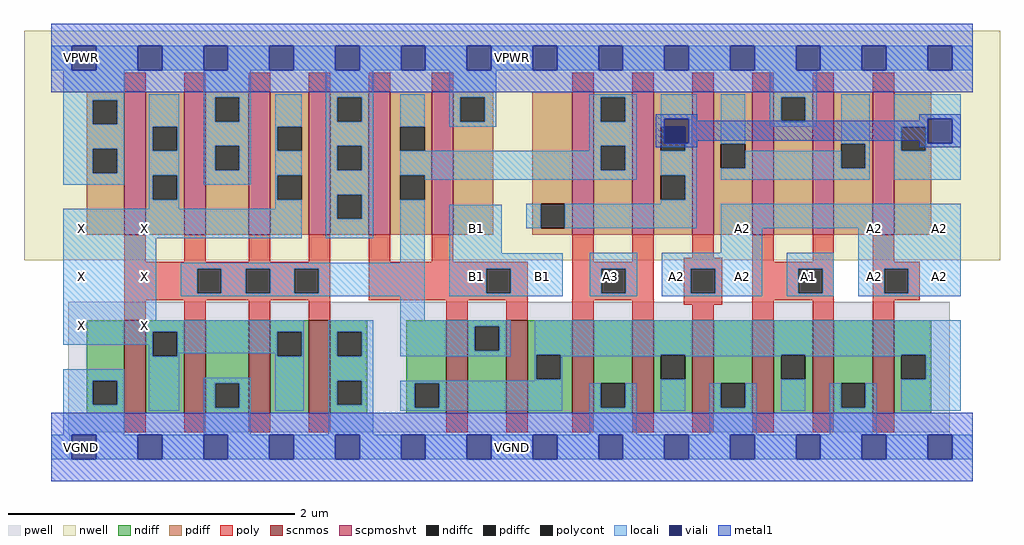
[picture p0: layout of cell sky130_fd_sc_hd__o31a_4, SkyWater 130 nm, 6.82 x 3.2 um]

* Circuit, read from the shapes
.subckt sky130_fd_sc_hd__o31a_4 A1 A2 A3 B1 VGND VNB VPB VPWR X
XM1 X n1 VGND VNB sky130_fd_pr__nfet_01v8 w=0.65 l=0.15 m=4
XM2 n1 B1 n2 VNB sky130_fd_pr__nfet_01v8 w=0.65 l=0.15 m=2
XM3 VGND A3 n2 VNB sky130_fd_pr__nfet_01v8 w=0.65 l=0.15 m=2
XM4 VGND A2 n2 VNB sky130_fd_pr__nfet_01v8 w=0.65 l=0.15 m=2
XM5 n2 A1 VGND VNB sky130_fd_pr__nfet_01v8 w=0.65 l=0.15 m=2
XM6 X n1 VPWR VPB sky130_fd_pr__pfet_01v8_hvt w=1 l=0.15 m=4
XM7 n1 B1 VPWR VPB sky130_fd_pr__pfet_01v8_hvt w=1 l=0.15 m=2
XM8 n1 A3 n3 VPB sky130_fd_pr__pfet_01v8_hvt w=1 l=0.15 m=2
XM9 n4 A2 n3 VPB sky130_fd_pr__pfet_01v8_hvt w=1 l=0.15 m=2
XM10 VPWR A1 n4 VPB sky130_fd_pr__pfet_01v8_hvt w=1 l=0.15 m=2
.ends

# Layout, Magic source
magic
tech sky130A
magscale 1 2
<< nwell >>
rect -38 261 1326 582
<< pwell >>
rect 24 21 1256 203
rect 25 -17 59 21
<< scnmos >>
rect 102 47 132 177
rect 186 47 216 177
rect 276 47 306 177
rect 360 47 390 177
rect 552 47 582 177
rect 636 47 666 177
rect 728 47 758 177
rect 812 47 842 177
rect 896 47 926 177
rect 980 47 1010 177
rect 1064 47 1094 177
rect 1148 47 1178 177
<< scpmoshvt >>
rect 102 297 132 497
rect 186 297 216 497
rect 276 297 306 497
rect 360 297 390 497
rect 444 297 474 497
rect 532 297 562 497
rect 728 297 758 497
rect 812 297 842 497
rect 896 297 926 497
rect 980 297 1010 497
rect 1064 297 1094 497
rect 1148 297 1178 497
<< ndiff >>
rect 50 93 102 177
rect 50 59 58 93
rect 92 59 102 93
rect 50 47 102 59
rect 132 161 186 177
rect 132 127 142 161
rect 176 127 186 161
rect 132 47 186 127
rect 216 89 276 177
rect 216 55 229 89
rect 263 55 276 89
rect 216 47 276 55
rect 306 161 360 177
rect 306 127 316 161
rect 350 127 360 161
rect 306 47 360 127
rect 390 161 442 177
rect 390 127 400 161
rect 434 127 442 161
rect 390 93 442 127
rect 390 59 400 93
rect 434 59 442 93
rect 390 47 442 59
rect 496 89 552 177
rect 496 55 508 89
rect 542 55 552 89
rect 496 47 552 55
rect 582 169 636 177
rect 582 135 592 169
rect 626 135 636 169
rect 582 47 636 135
rect 666 129 728 177
rect 666 95 678 129
rect 712 95 728 129
rect 666 47 728 95
rect 758 89 812 177
rect 758 55 768 89
rect 802 55 812 89
rect 758 47 812 55
rect 842 129 896 177
rect 842 95 852 129
rect 886 95 896 129
rect 842 47 896 95
rect 926 89 980 177
rect 926 55 936 89
rect 970 55 980 89
rect 926 47 980 55
rect 1010 129 1064 177
rect 1010 95 1020 129
rect 1054 95 1064 129
rect 1010 47 1064 95
rect 1094 89 1148 177
rect 1094 55 1104 89
rect 1138 55 1148 89
rect 1094 47 1148 55
rect 1178 129 1230 177
rect 1178 95 1188 129
rect 1222 95 1230 129
rect 1178 47 1230 95
<< pdiff >>
rect 50 485 102 497
rect 50 451 58 485
rect 92 451 102 485
rect 50 417 102 451
rect 50 383 58 417
rect 92 383 102 417
rect 50 297 102 383
rect 132 448 186 497
rect 132 414 142 448
rect 176 414 186 448
rect 132 380 186 414
rect 132 346 142 380
rect 176 346 186 380
rect 132 297 186 346
rect 216 489 276 497
rect 216 455 229 489
rect 263 455 276 489
rect 216 421 276 455
rect 216 387 229 421
rect 263 387 276 421
rect 216 297 276 387
rect 306 448 360 497
rect 306 414 316 448
rect 350 414 360 448
rect 306 380 360 414
rect 306 346 316 380
rect 350 346 360 380
rect 306 297 360 346
rect 390 489 444 497
rect 390 455 400 489
rect 434 455 444 489
rect 390 421 444 455
rect 390 387 400 421
rect 434 387 444 421
rect 390 353 444 387
rect 390 319 400 353
rect 434 319 444 353
rect 390 297 444 319
rect 474 448 532 497
rect 474 414 488 448
rect 522 414 532 448
rect 474 380 532 414
rect 474 346 488 380
rect 522 346 532 380
rect 474 297 532 346
rect 562 489 618 497
rect 562 455 572 489
rect 606 455 618 489
rect 562 297 618 455
rect 672 340 728 497
rect 672 306 684 340
rect 718 306 728 340
rect 672 297 728 306
rect 758 489 812 497
rect 758 455 768 489
rect 802 455 812 489
rect 758 421 812 455
rect 758 387 768 421
rect 802 387 812 421
rect 758 297 812 387
rect 842 448 896 497
rect 842 414 852 448
rect 886 414 896 448
rect 842 380 896 414
rect 842 346 852 380
rect 886 346 896 380
rect 842 297 896 346
rect 926 424 980 497
rect 926 390 936 424
rect 970 390 980 424
rect 926 297 980 390
rect 1010 489 1064 497
rect 1010 455 1020 489
rect 1054 455 1064 489
rect 1010 297 1064 455
rect 1094 424 1148 497
rect 1094 390 1104 424
rect 1138 390 1148 424
rect 1094 297 1148 390
rect 1178 448 1230 497
rect 1178 414 1188 448
rect 1222 414 1230 448
rect 1178 297 1230 414
<< ndiffc >>
rect 58 59 92 93
rect 142 127 176 161
rect 229 55 263 89
rect 316 127 350 161
rect 400 127 434 161
rect 400 59 434 93
rect 508 55 542 89
rect 592 135 626 169
rect 678 95 712 129
rect 768 55 802 89
rect 852 95 886 129
rect 936 55 970 89
rect 1020 95 1054 129
rect 1104 55 1138 89
rect 1188 95 1222 129
<< pdiffc >>
rect 58 451 92 485
rect 58 383 92 417
rect 142 414 176 448
rect 142 346 176 380
rect 229 455 263 489
rect 229 387 263 421
rect 316 414 350 448
rect 316 346 350 380
rect 400 455 434 489
rect 400 387 434 421
rect 400 319 434 353
rect 488 414 522 448
rect 488 346 522 380
rect 572 455 606 489
rect 684 306 718 340
rect 768 455 802 489
rect 768 387 802 421
rect 852 414 886 448
rect 852 346 886 380
rect 936 390 970 424
rect 1020 455 1054 489
rect 1104 390 1138 424
rect 1188 414 1222 448
<< poly >>
rect 102 497 132 523
rect 186 497 216 523
rect 276 497 306 523
rect 360 497 390 523
rect 444 497 474 523
rect 532 497 562 523
rect 728 497 758 523
rect 812 497 842 523
rect 896 497 926 523
rect 980 497 1010 523
rect 1064 497 1094 523
rect 1148 497 1178 523
rect 102 259 132 297
rect 186 259 216 297
rect 276 259 306 297
rect 360 259 390 297
rect 102 249 390 259
rect 102 215 204 249
rect 238 215 272 249
rect 306 215 340 249
rect 374 215 390 249
rect 102 205 390 215
rect 444 259 474 297
rect 532 259 562 297
rect 728 259 758 297
rect 812 259 842 297
rect 896 265 926 297
rect 444 249 666 259
rect 444 215 608 249
rect 642 215 666 249
rect 444 205 666 215
rect 102 177 132 205
rect 186 177 216 205
rect 276 177 306 205
rect 360 177 390 205
rect 552 177 582 205
rect 636 177 666 205
rect 728 249 842 259
rect 728 215 769 249
rect 803 215 842 249
rect 728 205 842 215
rect 728 177 758 205
rect 812 177 842 205
rect 884 249 938 265
rect 884 215 894 249
rect 928 215 938 249
rect 884 199 938 215
rect 980 259 1010 297
rect 1064 259 1094 297
rect 980 249 1094 259
rect 980 215 1044 249
rect 1078 215 1094 249
rect 980 205 1094 215
rect 896 177 926 199
rect 980 177 1010 205
rect 1064 177 1094 205
rect 1148 259 1178 297
rect 1148 249 1214 259
rect 1148 215 1164 249
rect 1198 215 1214 249
rect 1148 205 1214 215
rect 1148 177 1178 205
rect 102 21 132 47
rect 186 21 216 47
rect 276 21 306 47
rect 360 21 390 47
rect 552 21 582 47
rect 636 21 666 47
rect 728 21 758 47
rect 812 21 842 47
rect 896 21 926 47
rect 980 21 1010 47
rect 1064 21 1094 47
rect 1148 21 1178 47
<< polycont >>
rect 204 215 238 249
rect 272 215 306 249
rect 340 215 374 249
rect 608 215 642 249
rect 769 215 803 249
rect 894 215 928 249
rect 1044 215 1078 249
rect 1164 215 1198 249
<< locali >>
rect 0 527 29 561
rect 63 527 121 561
rect 155 527 213 561
rect 247 527 305 561
rect 339 527 397 561
rect 431 527 489 561
rect 523 527 581 561
rect 615 527 673 561
rect 707 527 765 561
rect 799 527 857 561
rect 891 527 949 561
rect 983 527 1041 561
rect 1075 527 1133 561
rect 1167 527 1225 561
rect 1259 527 1288 561
rect 17 485 102 527
rect 17 451 58 485
rect 92 451 102 485
rect 17 417 102 451
rect 17 383 58 417
rect 92 383 102 417
rect 17 367 102 383
rect 136 448 179 493
rect 136 414 142 448
rect 176 414 179 448
rect 136 380 179 414
rect 136 346 142 380
rect 176 346 179 380
rect 213 489 279 527
rect 213 455 229 489
rect 263 455 279 489
rect 213 421 279 455
rect 213 387 229 421
rect 263 387 279 421
rect 213 367 279 387
rect 313 448 350 493
rect 313 414 316 448
rect 313 380 350 414
rect 136 333 179 346
rect 313 346 316 380
rect 313 333 350 346
rect 17 292 350 333
rect 384 489 450 527
rect 384 455 400 489
rect 434 455 450 489
rect 384 421 450 455
rect 384 387 400 421
rect 434 387 450 421
rect 384 353 450 387
rect 384 319 400 353
rect 434 319 450 353
rect 384 292 450 319
rect 488 448 522 493
rect 556 489 622 527
rect 556 455 572 489
rect 606 455 622 489
rect 556 448 622 455
rect 752 489 818 493
rect 752 455 768 489
rect 802 455 818 489
rect 752 421 818 455
rect 752 414 768 421
rect 488 387 768 414
rect 802 387 818 421
rect 488 380 818 387
rect 522 374 818 380
rect 852 459 902 493
rect 852 448 857 459
rect 891 425 902 459
rect 886 414 902 425
rect 852 380 902 414
rect 17 177 147 292
rect 488 258 522 346
rect 886 346 902 380
rect 936 424 970 493
rect 1004 489 1070 527
rect 1004 455 1020 489
rect 1054 455 1070 489
rect 1004 448 1070 455
rect 1104 424 1144 493
rect 970 390 1104 414
rect 1138 390 1144 424
rect 936 374 1144 390
rect 1178 459 1271 493
rect 1178 448 1225 459
rect 1178 414 1188 448
rect 1222 425 1225 448
rect 1259 425 1271 459
rect 1222 414 1271 425
rect 1178 374 1271 414
rect 852 340 902 346
rect 181 249 522 258
rect 181 215 204 249
rect 238 215 272 249
rect 306 215 340 249
rect 374 215 522 249
rect 181 211 522 215
rect 556 271 630 339
rect 664 306 684 340
rect 718 306 902 340
rect 936 306 1271 340
rect 936 272 994 306
rect 556 249 715 271
rect 556 215 608 249
rect 642 215 715 249
rect 556 211 715 215
rect 753 249 819 272
rect 753 215 769 249
rect 803 215 819 249
rect 753 211 819 215
rect 853 249 994 272
rect 853 215 894 249
rect 928 215 994 249
rect 853 211 994 215
rect 1028 249 1094 272
rect 1028 215 1044 249
rect 1078 215 1094 249
rect 1028 211 1094 215
rect 1128 249 1271 306
rect 1128 215 1164 249
rect 1198 215 1271 249
rect 1128 211 1271 215
rect 488 177 522 211
rect 17 161 353 177
rect 17 143 142 161
rect 136 127 142 143
rect 176 131 316 161
rect 176 127 179 131
rect 17 93 102 109
rect 17 59 58 93
rect 92 59 102 93
rect 17 17 102 59
rect 136 51 179 127
rect 313 127 316 131
rect 350 127 353 161
rect 213 89 279 97
rect 213 55 229 89
rect 263 55 279 89
rect 213 17 279 55
rect 313 51 353 127
rect 387 161 450 177
rect 387 127 400 161
rect 434 127 450 161
rect 488 169 642 177
rect 488 135 592 169
rect 626 135 642 169
rect 488 127 642 135
rect 676 129 1271 177
rect 387 93 450 127
rect 676 95 678 129
rect 712 127 852 129
rect 712 95 714 127
rect 676 93 714 95
rect 387 59 400 93
rect 434 59 450 93
rect 387 17 450 59
rect 488 89 714 93
rect 886 127 1020 129
rect 488 55 508 89
rect 542 55 714 89
rect 488 51 714 55
rect 752 55 768 89
rect 802 55 818 89
rect 752 17 818 55
rect 852 51 886 95
rect 1054 127 1188 129
rect 920 55 936 89
rect 970 55 986 89
rect 920 17 986 55
rect 1020 51 1054 95
rect 1222 95 1271 129
rect 1088 55 1104 89
rect 1138 55 1154 89
rect 1088 17 1154 55
rect 1188 51 1271 95
rect 0 -17 29 17
rect 63 -17 121 17
rect 155 -17 213 17
rect 247 -17 305 17
rect 339 -17 397 17
rect 431 -17 489 17
rect 523 -17 581 17
rect 615 -17 673 17
rect 707 -17 765 17
rect 799 -17 857 17
rect 891 -17 949 17
rect 983 -17 1041 17
rect 1075 -17 1133 17
rect 1167 -17 1225 17
rect 1259 -17 1288 17
<< viali >>
rect 29 527 63 561
rect 121 527 155 561
rect 213 527 247 561
rect 305 527 339 561
rect 397 527 431 561
rect 489 527 523 561
rect 581 527 615 561
rect 673 527 707 561
rect 765 527 799 561
rect 857 527 891 561
rect 949 527 983 561
rect 1041 527 1075 561
rect 1133 527 1167 561
rect 1225 527 1259 561
rect 857 448 891 459
rect 857 425 886 448
rect 886 425 891 448
rect 1225 425 1259 459
rect 29 -17 63 17
rect 121 -17 155 17
rect 213 -17 247 17
rect 305 -17 339 17
rect 397 -17 431 17
rect 489 -17 523 17
rect 581 -17 615 17
rect 673 -17 707 17
rect 765 -17 799 17
rect 857 -17 891 17
rect 949 -17 983 17
rect 1041 -17 1075 17
rect 1133 -17 1167 17
rect 1225 -17 1259 17
<< metal1 >>
rect 0 561 1288 592
rect 0 527 29 561
rect 63 527 121 561
rect 155 527 213 561
rect 247 527 305 561
rect 339 527 397 561
rect 431 527 489 561
rect 523 527 581 561
rect 615 527 673 561
rect 707 527 765 561
rect 799 527 857 561
rect 891 527 949 561
rect 983 527 1041 561
rect 1075 527 1133 561
rect 1167 527 1225 561
rect 1259 527 1288 561
rect 0 496 1288 527
rect 845 459 903 465
rect 845 425 857 459
rect 891 456 903 459
rect 1213 459 1271 465
rect 1213 456 1225 459
rect 891 428 1225 456
rect 891 425 903 428
rect 845 419 903 425
rect 1213 425 1225 428
rect 1259 425 1271 459
rect 1213 419 1271 425
rect 0 17 1288 48
rect 0 -17 29 17
rect 63 -17 121 17
rect 155 -17 213 17
rect 247 -17 305 17
rect 339 -17 397 17
rect 431 -17 489 17
rect 523 -17 581 17
rect 615 -17 673 17
rect 707 -17 765 17
rect 799 -17 857 17
rect 891 -17 949 17
rect 983 -17 1041 17
rect 1075 -17 1133 17
rect 1167 -17 1225 17
rect 1259 -17 1288 17
rect 0 -48 1288 -17
<< labels >>
flabel locali s 25 153 59 187 0 FreeSans 200 0 0 0 X
port 9 nsew signal output
flabel locali s 113 153 147 187 0 FreeSans 200 0 0 0 X
port 9 nsew signal output
flabel locali s 113 221 147 255 0 FreeSans 200 0 0 0 X
port 9 nsew signal output
flabel locali s 25 221 59 255 0 FreeSans 200 0 0 0 X
port 9 nsew signal output
flabel locali s 25 289 59 323 0 FreeSans 200 0 0 0 X
port 9 nsew signal output
flabel locali s 113 289 147 323 0 FreeSans 200 0 0 0 X
port 9 nsew signal output
flabel locali s 577 289 611 323 0 FreeSans 200 0 0 0 B1
port 4 nsew signal input
flabel locali s 577 221 611 255 0 FreeSans 200 0 0 0 B1
port 4 nsew signal input
flabel locali s 669 221 703 255 0 FreeSans 200 0 0 0 B1
port 4 nsew signal input
flabel locali s 765 221 799 255 0 FreeSans 200 0 0 0 A3
port 3 nsew signal input
flabel locali s 857 221 891 255 0 FreeSans 200 0 0 0 A2
port 2 nsew signal input
flabel locali s 949 221 983 255 0 FreeSans 200 0 0 0 A2
port 2 nsew signal input
flabel locali s 949 289 983 323 0 FreeSans 200 0 0 0 A2
port 2 nsew signal input
flabel locali s 1133 289 1167 323 0 FreeSans 200 0 0 0 A2
port 2 nsew signal input
flabel locali s 1225 289 1259 323 0 FreeSans 200 0 0 0 A2
port 2 nsew signal input
flabel locali s 1225 221 1259 255 0 FreeSans 200 0 0 0 A2
port 2 nsew signal input
flabel locali s 1133 221 1167 255 0 FreeSans 200 0 0 0 A2
port 2 nsew signal input
flabel locali s 1041 221 1075 255 0 FreeSans 200 0 0 0 A1
port 1 nsew signal input
flabel metal1 s 25 -17 59 17 0 FreeSans 200 0 0 0 VGND
port 5 nsew ground bidirectional abutment
flabel metal1 s 25 527 59 561 0 FreeSans 200 0 0 0 VPWR
port 8 nsew power bidirectional abutment
flabel nwell s 25 527 59 561 0 FreeSans 200 0 0 0 VPB
port 7 nsew power bidirectional
flabel pwell s 25 -17 59 17 0 FreeSans 200 0 0 0 VNB
port 6 nsew ground bidirectional
rlabel comment s 0 0 0 0 4 o31a_4
rlabel metal1 s 0 -48 1288 48 1 VGND
port 5 nsew ground bidirectional abutment
rlabel metal1 s 0 496 1288 592 1 VPWR
port 8 nsew power bidirectional abutment
<< properties >>
string FIXED_BBOX 0 0 1288 544
string GDS_END 1419026
string GDS_FILE $PDKPATH/libs.ref/sky130_fd_sc_hd/gds/sky130_fd_sc_hd.gds
string GDS_START 1407914
string LEFclass CORE
string LEFsite unithd
string LEFsymmetry X Y R90
string path 0.000 2.720 6.440 2.720 
<< end >>
